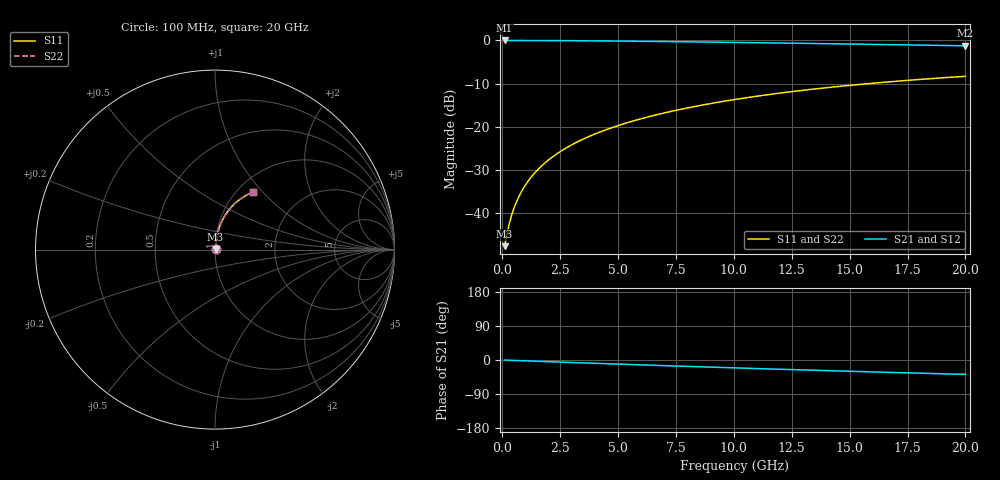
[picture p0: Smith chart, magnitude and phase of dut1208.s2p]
! Touchstone file exported from HFSS 2024.1.0
!  File:  C:/UserFiles/LocalFiles/RDL_TSV_Batchsim/temp_RDL_top_1208_1780239758.aedt
!  Generated:  11:05:02 PM May 31, 2026
!  Design:  RDL_top
!  Project:  temp_RDL_top_1208_1780239758
!  Setup:  Setup1
!  Solution:  Sweep
! Variables:
!  dtsv = 10.80580581um
!  hbump = 3um
!  htsv = 76.5um
!  ldown = 100um
!  lrdl = 527.76um
!  p = 40
!  p1 = 43.34um
!  rhole = 1um
!  t = 450um
!  tdown = 3.915915916um
!  trdl = 3.41um
!  wdown = 15.38538539um
!  wrdl = 16.18um
# GHz S MA R 50.000000
! Terminal data exported
! Port[1] = Box2_T1
! Port[2] = Box2_T2
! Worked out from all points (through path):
!   200 points, 100 MHz to 20 GHz, reference 50 ohm
!   highest |S21| = -0.03 dB at 100 MHz (marker M1); lowest = -1.3 dB at 20 GHz (marker M2)
!   group delay of S21, straight-line fit = 5.27 ps
!   lowest |S11| = -47.6 dB at 100 MHz (marker M3), VSWR 1.01, Z = 50.4 + j0.222 ohm
!   |S11| at or under -10 dB: start of sweep to 15.85 GHz
!   |S22| runs from -47.6 to -8.3 dB; largest |S21 - S12| = 3.1e-15
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0.1  0.004154 32.0  0.9965 -0.2  0.9965 -0.2  0.004154 32.0
! Gamma 0 0 0 0
! Port Impedance 50 0 50 0
0.2  0.005674 50.3  0.9964 -0.5  0.9964 -0.5  0.005674 50.3
0.3  0.00749 59.9  0.9962 -0.7  0.9962 -0.7  0.00749 59.9
0.4  0.009396 65.5  0.9961 -0.9  0.9961 -0.9  0.009396 65.5
0.5  0.01133 69.1  0.9959 -1.1  0.9959 -1.1  0.01133 69.1
0.6  0.01328 71.7  0.9958 -1.4  0.9958 -1.4  0.01328 71.7
0.8  0.01722 75.2  0.9955 -1.8  0.9955 -1.8  0.01722 75.2
1.1  0.02319 78.1  0.995 -2.4  0.995 -2.4  0.02319 78.1
1.3  0.0272 79.3  0.9947 -2.9  0.9947 -2.9  0.0272 79.3
1.6  0.03326 80.5  0.9941 -3.5  0.9941 -3.5  0.03326 80.5
2.1  0.04342 81.4  0.9928 -4.6  0.9928 -4.6  0.04342 81.4
2.7  0.05569 81.8  0.991 -5.9  0.991 -5.9  0.05569 81.8
3.5  0.07214 81.6  0.988 -7.7  0.988 -7.7  0.07214 81.6
4.2  0.08659 81.1  0.9848 -9.2  0.9848 -9.2  0.0866 81.1
5  0.1032 80.3  0.9807 -10.8  0.9807 -10.8  0.1032 80.3
5.9  0.1218 79.2  0.9754 -12.7  0.9754 -12.7  0.1219 79.2
6.8  0.1405 78.0  0.9697 -14.5  0.9697 -14.5  0.1405 78.0
8.4  0.1735 75.6  0.9587 -17.7  0.9587 -17.7  0.1735 75.6
10.1  0.2079 72.9  0.946 -20.9  0.946 -20.9  0.208 72.9
13.4  0.272 67.3  0.9196 -27.0  0.9196 -27.0  0.2721 67.4
16.7  0.3308 61.8  0.8921 -32.6  0.8921 -32.6  0.331 61.9
20  0.3837 56.5  0.8641 -38.0  0.8641 -38.0  0.3838 56.6
